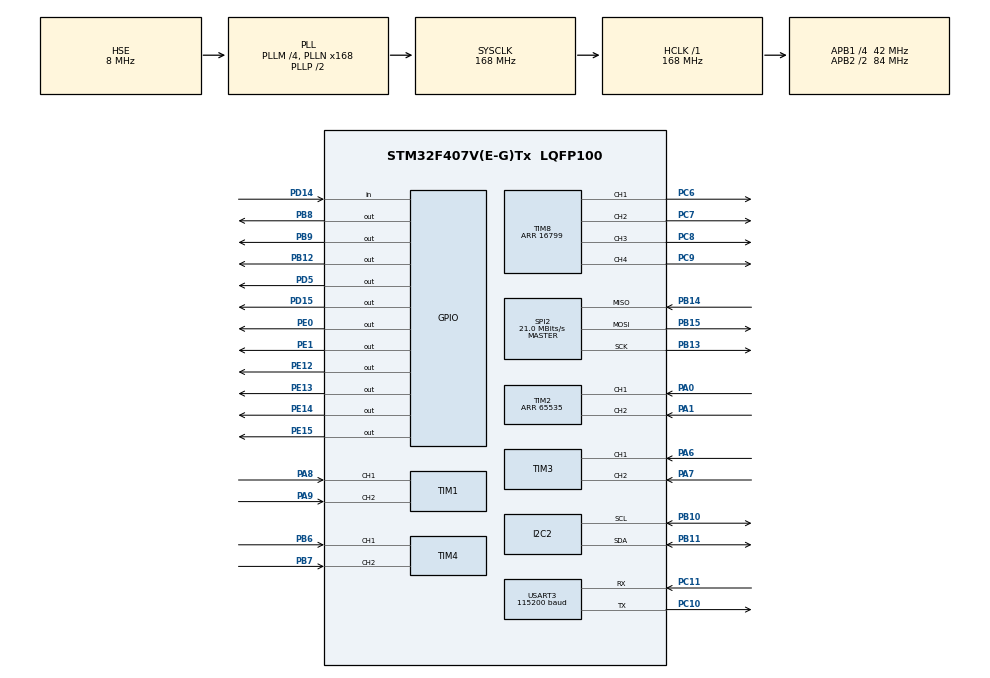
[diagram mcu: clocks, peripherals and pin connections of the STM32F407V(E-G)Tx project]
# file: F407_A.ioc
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Mcu.Family=STM32F4
Mcu.Name=STM32F407V(E-G)Tx
Mcu.Package=LQFP100
NVIC.PriorityGroup=NVIC_PRIORITYGROUP_4
NVIC.TIM7_IRQn=true\:15\:0\:false\:false\:true\:true\:true\:true
NVIC.TIM8_UP_TIM13_IRQn=true\:0\:0\:false\:false\:true\:true\:true\:true
NVIC.TimeBase=TIM7_IRQn
NVIC.TimeBaseIP=TIM7
NVIC.USART3_IRQn=true\:0\:0\:false\:false\:true\:true\:true\:true
PA0-WKUP.Signal=S_TIM2_CH1_ETR
PA1.Signal=S_TIM2_CH2
PA13.Mode=Serial_Wire
PA13.Signal=SYS_JTMS-SWDIO
PA14.Mode=Serial_Wire
PA14.Signal=SYS_JTCK-SWCLK
PA6.Signal=S_TIM3_CH1
PA7.Signal=S_TIM3_CH2
PA8.Signal=S_TIM1_CH1
PA9.Signal=S_TIM1_CH2
PB10.Mode=I2C
PB10.Signal=I2C2_SCL
PB11.Mode=I2C
PB11.Signal=I2C2_SDA
PB12.Signal=GPIO_Output
PB13.Mode=Full_Duplex_Master
PB13.Signal=SPI2_SCK
PB14.Mode=Full_Duplex_Master
PB14.Signal=SPI2_MISO
PB15.Mode=Full_Duplex_Master
PB15.Signal=SPI2_MOSI
PB6.Signal=S_TIM4_CH1
PB7.Signal=S_TIM4_CH2
PB8.Signal=GPIO_Output
PB9.Signal=GPIO_Output
PC10.Mode=Asynchronous
PC10.Signal=USART3_TX
PC11.Mode=Asynchronous
PC11.Signal=USART3_RX
PC6.Signal=S_TIM8_CH1
PC7.Signal=S_TIM8_CH2
PC8.Signal=S_TIM8_CH3
PC9.Signal=S_TIM8_CH4
PD14.Signal=GPIO_Input
PD15.Signal=GPIO_Output
PD5.Signal=GPIO_Output
PE0.Signal=GPIO_Output
PE1.Signal=GPIO_Output
PE12.Signal=GPIO_Output
PE13.Signal=GPIO_Output
PE14.Signal=GPIO_Output
PE15.Signal=GPIO_Output
PH0-OSC_IN.Mode=HSE-External-Oscillator
PH0-OSC_IN.Signal=RCC_OSC_IN
PH1-OSC_OUT.Mode=HSE-External-Oscillator
PH1-OSC_OUT.Signal=RCC_OSC_OUT
ProjectManager.HeapSize=0x200
ProjectManager.StackSize=0x400
ProjectManager.TargetToolchain=Makefile
RCC.48MHZClocksFreq_Value=84000000
RCC.AHBFreq_Value=168000000
RCC.APB1CLKDivider=RCC_HCLK_DIV4
RCC.APB1Freq_Value=42000000
RCC.APB1TimFreq_Value=84000000
RCC.APB2CLKDivider=RCC_HCLK_DIV2
RCC.APB2Freq_Value=84000000
RCC.APB2TimFreq_Value=168000000
RCC.CortexFreq_Value=168000000
RCC.HCLKFreq_Value=168000000
RCC.HSE_VALUE=8000000
RCC.HSI_VALUE=16000000
RCC.LSE_VALUE=32768
RCC.PLLM=4
RCC.PLLN=168
RCC.PLLSourceVirtual=RCC_PLLSOURCE_HSE
RCC.SYSCLKFreq_VALUE=168000000
RCC.SYSCLKSource=RCC_SYSCLKSOURCE_PLLCLK
RCC.VCOOutputFreq_Value=336000000
SH.S_TIM1_CH1.0=TIM1_CH1,Encoder_Interface
SH.S_TIM1_CH2.0=TIM1_CH2,Encoder_Interface
SH.S_TIM2_CH1_ETR.0=TIM2_CH1,Encoder_Interface
SH.S_TIM2_CH2.0=TIM2_CH2,Encoder_Interface
SH.S_TIM3_CH1.0=TIM3_CH1,Encoder_Interface
SH.S_TIM3_CH2.0=TIM3_CH2,Encoder_Interface
SH.S_TIM4_CH1.0=TIM4_CH1,Encoder_Interface
SH.S_TIM4_CH2.0=TIM4_CH2,Encoder_Interface
SH.S_TIM8_CH1.0=TIM8_CH1,PWM Generation1 CH1
SH.S_TIM8_CH2.0=TIM8_CH2,PWM Generation2 CH2
SH.S_TIM8_CH3.0=TIM8_CH3,PWM Generation3 CH3
SH.S_TIM8_CH4.0=TIM8_CH4,PWM Generation4 CH4
SPI2.CalculateBaudRate=21.0 MBits/s
SPI2.Direction=SPI_DIRECTION_2LINES
SPI2.Mode=SPI_MODE_MASTER
SPI2.VirtualType=VM_MASTER
TIM1.EncoderMode=TIM_ENCODERMODE_TI12
TIM2.EncoderMode=TIM_ENCODERMODE_TI12
TIM2.Period=65535
TIM3.EncoderMode=TIM_ENCODERMODE_TI12
TIM4.EncoderMode=TIM_ENCODERMODE_TI12
TIM8.Channel-PWM\ Generation1\ CH1=TIM_CHANNEL_1
TIM8.Channel-PWM\ Generation2\ CH2=TIM_CHANNEL_2
TIM8.Channel-PWM\ Generation3\ CH3=TIM_CHANNEL_3
TIM8.Channel-PWM\ Generation4\ CH4=TIM_CHANNEL_4
TIM8.Period=16799
USART3.BaudRate=115200
USART3.VirtualMode=VM_ASYNC
VP_SYS_VS_tim7.Mode=TIM7
board=custom

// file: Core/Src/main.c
/* USER CODE BEGIN Header */
/**
  ******************************************************************************
  * @file           : main.c
  * @brief          : Main program body
  ******************************************************************************
  * @attention
  *
  * Copyright (c) 2026 STMicroelectronics.
  * All rights reserved.
  *
  * This software is licensed under terms that can be found in the LICENSE file
  * in the root directory of this software component.
  * If no LICENSE file comes with this software, it is provided AS-IS.
  *
  ******************************************************************************
  */
/* USER CODE END Header */
#include "main.h"
#include "i2c.h"
#include "spi.h"
#include "tim.h"
#include "usart.h"
#include "gpio.h"

/* USER CODE BEGIN Includes */
#include "ringbuf.h"
#include "bt_proto.h"
#include "speed_ctrl.h"
#include "motor.h"
#include "oled.h"
#include "stm32f4xx_it.h"
#include "MPU6050.h"
#include "MahonyAHRS.h"
#include "gyro_calib.h"
#include "kinematics.h"
#include "yaw_ctrl.h"
/* USER CODE END Includes */

/* USER CODE BEGIN PV */
BT_RxPacket_t s_rx_pkt;
BT_TxPacket_t s_tx_pkt;
uint8_t s_tx_buf[BT_TX_PACKET_LEN];
uint8_t s_tx_len;
uint32_t s_led_off_tick;  /* LED 闪烁计时 */
float g_roll, g_pitch, g_yaw;  /* 欧拉角 (度)，由 IMU 姿态解算更新 */
/* USER CODE END PV */

void SystemClock_Config(void);
/* USER CODE BEGIN PFP */
extern RingBuf_t *Get_UART_RxRingBuf(void);
extern volatile int tim8_counter;
/* USER CODE END PFP */

/* USER CODE BEGIN 0 */

/**
  * 函    数：IMU 姿态解算更新任务
  * 说    明：以 200Hz 频率读取 MPU6050 数据，运行 Mahony AHRS 算法，
  *           将四元数转换为欧拉角并存入全局变量 g_roll/g_pitch/g_yaw
  */
void imu_update_task(void)
{
    static uint32_t last_tick = 0;
    uint32_t now = HAL_GetTick();

    /* 200Hz = 每5ms更新一次 */
    if (now - last_tick < 5) return;
    last_tick = now;

    int16_t acc_x, acc_y, acc_z, gyro_x, gyro_y, gyro_z;
    MPU6050_GetData(&acc_x, &acc_y, &acc_z, &gyro_x, &gyro_y, &gyro_z);

    /* 原始值转换为物理单位 */
    /* 陀螺仪: ±2000°/s → rad/s,  加速度计: ±16g → g */
    const float gyro_scale  = (2000.0f / 32768.0f) * (3.14159265359f / 180.0f);
    const float accel_scale = 16.0f / 32768.0f;

    float gx = gyro_x * gyro_scale;
    float gy = gyro_y * gyro_scale;
    float gz = gyro_z * gyro_scale;
    float ax = acc_x * accel_scale;
    float ay = acc_y * accel_scale;
    float az = acc_z * accel_scale;

    /* 在线补偿陀螺仪零偏（静止检测 + EMA 估计） */
    GyroCalib_Update(&gx, &gy, &gz, ax, ay, az);

    /* 更新 Mahony AHRS (6-DOF IMU 模式，无磁力计) */
    float q[4] = {q0, q1, q2, q3};
    MahonyAHRSupdateIMU(q, gx, gy, gz, ax, ay, az);
    q0 = q[0]; q1 = q[1]; q2 = q[2]; q3 = q[3];

    /* 四元数转欧拉角 (度) */
    QuaternionToEuler(q, &g_roll, &g_pitch, &g_yaw);
}

int Vx = 0;
int Vy = 0;
float wheel_rpm[4];
float omega;
/**
  * 函    数：底盘运动学控制任务
  * 说    明：以 200Hz 频率执行：摇杆映射 → yaw角度环PID → 全向轮运动学 → 下发4轮目标转速
  */
void chassis_control_task(void)
{
    static uint32_t last_tick = 0;
    uint32_t now = HAL_GetTick();

    /* 200Hz = 每5ms执行一次，与 IMU 同步 */
    if (now - last_tick < 5) return;
    last_tick = now;

    /* 1. 陀螺转自增逻辑 */
    if (tuoluo_flag == 1) {
        // 每 5ms 递增一次目标角度。1.5f 对应每秒 300 度，你可以根据实际需要调整这个步长
        // 如果想反向转，改成 -= 1.5f 即可
        float yaw_v = s_rx_pkt.rpm_xishu*0.009f;
        g_target_yaw_angle += yaw_v;

        // 保持目标角度在 [0, 360] 范围内，防止 float 变量长时间运行精度溢出
        if (g_target_yaw_angle >= 360.0f) {
            g_target_yaw_angle -= 360.0f;
        }
        if (g_target_yaw_angle < 0.0f) {
            g_target_yaw_angle += 360.0f;
        }
    }

    /* 2. 执行 PID 计算 */
    omega = YawCtrl_Update(g_yaw, 0.005f);
    // if(fbs(g_yaw - g_target_yaw_angle)>0.1)
    //   tuoluo_ok_flag = 1;
    /* 3. 全向轮运动学解算 → 4轮目标转速 RPM */
    // 注意：这里的乘数 motor_rpm 如果是你刚才映射出来的系数，记得加入解算
    OmniKinematics(Vx, Vy, (int)omega, wheel_rpm);

    /* 4. 下发给速度环 */
    for (int i = 0; i < 4; i++) {
        SpeedCtrl_SetTarget(i, wheel_rpm[i]);
    }
}

/* USER CODE END 0 */

int main(void)
{

  /* MCU Configuration--------------------------------------------------------*/

  /* Reset of all peripherals, Initializes the Flash interface and the Systick. */
  HAL_Init();

  /* Configure the system clock */
  SystemClock_Config();

  /* Initialize all configured peripherals */
  MX_GPIO_Init();
  MX_USART3_UART_Init();
  MX_TIM1_Init();
  MX_TIM2_Init();
  MX_TIM3_Init();
  MX_TIM4_Init();
  MX_TIM8_Init();
  MX_SPI2_Init();
  MX_I2C2_Init();
  /* USER CODE BEGIN 2 */
  Motor_InitAll();
  SpeedCtrl_Init();
  // oled_init();
  MPU6050_Init();
  GyroCalib_Init(500);  /* 采集500个样本估计陀螺仪初始零偏（约2.5秒） */
  YawCtrl_Init();        /* 初始化 yaw 角度环 PID（Kp/Ki/Kd=0，用户自行调试） */
  /* 启用 TIM8 更新中断（PWM 已在 Motor_InitAll 中启动） */
  __HAL_TIM_ENABLE_IT(&htim8, TIM_IT_UPDATE);

  /* 使能 USART3 RXNE 中断 */
  USART3->CR1 |= USART_CR1_RXNEIE;

  /* LED 初始状态 */
  HAL_GPIO_WritePin(LED_PORT, LED_PIN, GPIO_PIN_RESET);
  s_led_off_tick = 0;
  NRF_check();
  /* USER CODE END 2 */

  /* Infinite loop */
  while (1)
  {

    /* USER CODE BEGIN 3 */
    imu_update_task();
    // // nrf_receive_task();
    chassis_control_task();
    blue_setparam_task();
    // oled_task();

  }  /* USER CODE END 3 */
}

void SystemClock_Config(void)
{
  RCC_OscInitTypeDef RCC_OscInitStruct = {0};
  RCC_ClkInitTypeDef RCC_ClkInitStruct = {0};

  /** Configure the main internal regulator output voltage
  */
  __HAL_RCC_PWR_CLK_ENABLE();
  __HAL_PWR_VOLTAGESCALING_CONFIG(PWR_REGULATOR_VOLTAGE_SCALE1);

  /** Initializes the RCC Oscillators according to the specified parameters
  * in the RCC_OscInitTypeDef structure.
  */
  RCC_OscInitStruct.OscillatorType = RCC_OSCILLATORTYPE_HSE;
  RCC_OscInitStruct.HSEState = RCC_HSE_ON;
  RCC_OscInitStruct.PLL.PLLState = RCC_PLL_ON;
  RCC_OscInitStruct.PLL.PLLSource = RCC_PLLSOURCE_HSE;
  RCC_OscInitStruct.PLL.PLLM = 4;
  RCC_OscInitStruct.PLL.PLLN = 168;
  RCC_OscInitStruct.PLL.PLLP = RCC_PLLP_DIV2;
  RCC_OscInitStruct.PLL.PLLQ = 4;
  if (HAL_RCC_OscConfig(&RCC_OscInitStruct) != HAL_OK)
  {
    Error_Handler();
  }

  /** Initializes the CPU, AHB and APB buses clocks
  */
  RCC_ClkInitStruct.ClockType = RCC_CLOCKTYPE_HCLK|RCC_CLOCKTYPE_SYSCLK
                              |RCC_CLOCKTYPE_PCLK1|RCC_CLOCKTYPE_PCLK2;
  RCC_ClkInitStruct.SYSCLKSource = RCC_SYSCLKSOURCE_PLLCLK;
  RCC_ClkInitStruct.AHBCLKDivider = RCC_SYSCLK_DIV1;
  RCC_ClkInitStruct.APB1CLKDivider = RCC_HCLK_DIV4;
  RCC_ClkInitStruct.APB2CLKDivider = RCC_HCLK_DIV2;

  if (HAL_RCC_ClockConfig(&RCC_ClkInitStruct, FLASH_LATENCY_5) != HAL_OK)
  {
    Error_Handler();
  }
}

void HAL_TIM_PeriodElapsedCallback(TIM_HandleTypeDef *htim)
{
  if (htim->Instance == TIM7)
  {
    HAL_IncTick();
  }
}

void Error_Handler(void)
{
  __disable_irq();
  while (1)
  {
  }
}
